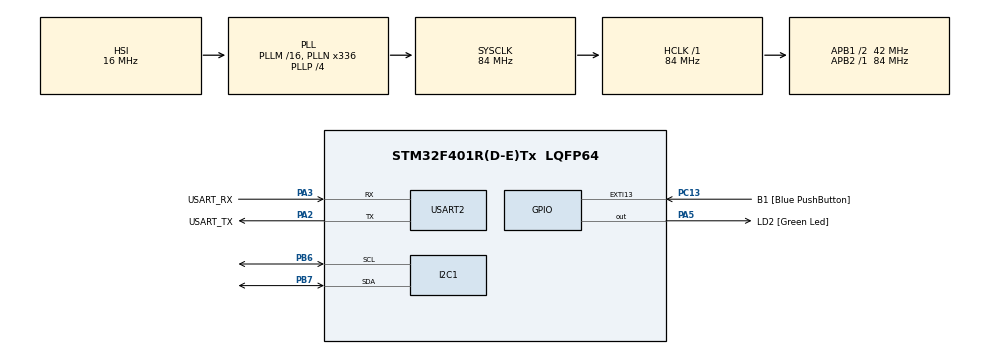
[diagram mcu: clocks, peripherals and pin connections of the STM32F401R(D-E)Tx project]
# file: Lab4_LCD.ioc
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Mcu.Family=STM32F4
Mcu.Name=STM32F401R(D-E)Tx
Mcu.Package=LQFP64
NVIC.PriorityGroup=NVIC_PRIORITYGROUP_0
NVIC.TIM2_IRQn=true\:0\:0\:false\:false\:true\:true\:true\:true
PA13.GPIO_Label=TMS
PA13.Mode=Serial_Wire
PA13.Signal=SYS_JTMS-SWDIO
PA14.GPIO_Label=TCK
PA14.Mode=Serial_Wire
PA14.Signal=SYS_JTCK-SWCLK
PA2.GPIO_Label=USART_TX
PA2.GPIO_Mode=GPIO_MODE_AF_PP
PA2.GPIO_PuPd=GPIO_NOPULL
PA2.GPIO_Speed=GPIO_SPEED_FREQ_LOW
PA2.Mode=Asynchronous
PA2.Signal=USART2_TX
PA3.GPIO_Label=USART_RX
PA3.GPIO_Mode=GPIO_MODE_AF_PP
PA3.GPIO_PuPd=GPIO_NOPULL
PA3.GPIO_Speed=GPIO_SPEED_FREQ_LOW
PA3.Mode=Asynchronous
PA3.Signal=USART2_RX
PA5.GPIO_Label=LD2 [Green Led]
PA5.GPIO_Mode=GPIO_MODE_OUTPUT_PP
PA5.GPIO_PuPd=GPIO_NOPULL
PA5.GPIO_Speed=GPIO_SPEED_FREQ_LOW
PA5.Signal=GPIO_Output
PB3.GPIO_Label=SWO
PB3.Signal=SYS_JTDO-SWO
PB6.Mode=I2C
PB6.Signal=I2C1_SCL
PB7.Mode=I2C
PB7.Signal=I2C1_SDA
PC13-ANTI_TAMP.GPIO_Label=B1 [Blue PushButton]
PC13-ANTI_TAMP.GPIO_ModeDefaultEXTI=GPIO_MODE_IT_FALLING
PC13-ANTI_TAMP.GPIO_PuPd=GPIO_NOPULL
PC13-ANTI_TAMP.Signal=GPXTI13
PC14-OSC32_IN.Mode=LSE-External-Oscillator
PC14-OSC32_IN.Signal=RCC_OSC32_IN
PC15-OSC32_OUT.Mode=LSE-External-Oscillator
PC15-OSC32_OUT.Signal=RCC_OSC32_OUT
PH0\ -\ OSC_IN.Mode=HSE-External-Clock-Source
PH0\ -\ OSC_IN.Signal=RCC_OSC_IN
PH1\ -\ OSC_OUT.Mode=HSE-External-Clock-Source
PH1\ -\ OSC_OUT.Signal=RCC_OSC_OUT
ProjectManager.HeapSize=0x200
ProjectManager.StackSize=0x400
ProjectManager.TargetToolchain=STM32CubeIDE
RCC.48MHZClocksFreq_Value=48000000
RCC.AHBFreq_Value=84000000
RCC.APB1CLKDivider=RCC_HCLK_DIV2
RCC.APB1Freq_Value=42000000
RCC.APB1TimFreq_Value=84000000
RCC.APB2Freq_Value=84000000
RCC.APB2TimFreq_Value=84000000
RCC.CortexFreq_Value=84000000
RCC.HCLKFreq_Value=84000000
RCC.HSE_VALUE=8000000
RCC.HSI_VALUE=16000000
RCC.PLLN=336
RCC.PLLP=RCC_PLLP_DIV4
RCC.PLLQ=7
RCC.SYSCLKFreq_VALUE=84000000
RCC.SYSCLKSource=RCC_SYSCLKSOURCE_PLLCLK
RCC.VCOOutputFreq_Value=336000000
TIM2.Period=7000-1
TIM2.Prescaler=6000-1
USART2.VirtualMode=VM_ASYNC
VP_TIM2_VS_ClockSourceINT.Mode=Internal
board=NUCLEO-F401RE

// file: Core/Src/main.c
/* USER CODE BEGIN Header */
/**
  ******************************************************************************
  * @file           : main.c
  * @brief          : Main program body
  ******************************************************************************
  * @attention
  *
  * Copyright (c) 2024 STMicroelectronics.
  * All rights reserved.
  *
  * This software is licensed under terms that can be found in the LICENSE file
  * in the root directory of this software component.
  * If no LICENSE file comes with this software, it is provided AS-IS.
  *
  ******************************************************************************
  */
/* USER CODE END Header */
#include "main.h"

I2C_HandleTypeDef hi2c1;

TIM_HandleTypeDef htim2;

UART_HandleTypeDef huart2;

void SystemClock_Config(void);
static void MX_GPIO_Init(void);
static void MX_USART2_UART_Init(void);
static void MX_TIM2_Init(void);
static void MX_I2C1_Init(void);

/* USER CODE BEGIN 0 */

uint8_t tick_flag = 0;
uint8_t hsec = 0;
struct clock_data my_clock;

void cd_set(struct clock_data *pcd, uint8_t hrs, uint8_t min, uint8_t sec)
{
	pcd->hrs = hrs;
	pcd->min = min;
	pcd->sec = sec;
}

void cd_tick(struct clock_data *pcd)
{
	pcd->sec++; //ökar sec

	//hanterar sec/min
	if(pcd->sec >= 60)
	{
		pcd->sec = 0;
		pcd->min++;
	}

	//hanterar min/hrs
	if(pcd->min >= 60)
	{
		pcd->min = 0;
		pcd->hrs++;
	}

	//slår om clk
	if(pcd->hrs >= 24)
	{
		pcd->hrs = 0;
	}

}

void HAL_TIM_PeriodElapsedCallback( TIM_HandleTypeDef *htim )
{
	if(htim->Instance==TIM2)
	{
		hsec ^= 1;
		if (!hsec)
		{
			tick_flag = 1;
		}

		HAL_UART_Transmit(&huart2, (uint8_t *)"Tick\n", 5, HAL_MAX_DELAY);
	}
}

void uart_print_cd(UART_HandleTypeDef *huart, struct clock_data * pcd)
{
	char buffer[100];

	sprintf(buffer, "%02d:%02d:%02d\r", pcd->hrs, pcd->min, pcd->sec);

	HAL_UART_Transmit(huart, (uint8_t*) buffer, strlen(buffer), HAL_MAX_DELAY);
}

void wait_for_button_press()
{
	while(!(HAL_GPIO_ReadPin(B1_GPIO_Port, B1_Pin) == 0))
	{

	}

	HAL_Delay(20);
}

/* USER CODE END 0 */

int main(void)
{

  /* USER CODE BEGIN 1 */

	HAL_TIM_Base_Start_IT(&htim2);
	cd_set(&my_clock, 23, 59,45);

  /* USER CODE END 1 */

  /* MCU Configuration--------------------------------------------------------*/

  /* Reset of all peripherals, Initializes the Flash interface and the Systick. */
  HAL_Init();

  /* Configure the system clock */
  SystemClock_Config();

  /* Initialize all configured peripherals */
  MX_GPIO_Init();
  MX_USART2_UART_Init();
  MX_TIM2_Init();
  MX_I2C1_Init();

  /* Infinite loop */
  /* USER CODE BEGIN WHILE */
  while (1)
  {

	  if (tick_flag)
	  {
		  tick_flag = 0;
		  cd_tick(&my_clock);
		  uart_print_cd(&huart2,&my_clock);

	  }

    /* USER CODE END WHILE */

  }
}

void SystemClock_Config(void)
{
  RCC_OscInitTypeDef RCC_OscInitStruct = {0};
  RCC_ClkInitTypeDef RCC_ClkInitStruct = {0};

  /** Configure the main internal regulator output voltage
  */
  __HAL_RCC_PWR_CLK_ENABLE();
  __HAL_PWR_VOLTAGESCALING_CONFIG(PWR_REGULATOR_VOLTAGE_SCALE2);

  /** Initializes the RCC Oscillators according to the specified parameters
  * in the RCC_OscInitTypeDef structure.
  */
  RCC_OscInitStruct.OscillatorType = RCC_OSCILLATORTYPE_HSI;
  RCC_OscInitStruct.HSIState = RCC_HSI_ON;
  RCC_OscInitStruct.HSICalibrationValue = RCC_HSICALIBRATION_DEFAULT;
  RCC_OscInitStruct.PLL.PLLState = RCC_PLL_ON;
  RCC_OscInitStruct.PLL.PLLSource = RCC_PLLSOURCE_HSI;
  RCC_OscInitStruct.PLL.PLLM = 16;
  RCC_OscInitStruct.PLL.PLLN = 336;
  RCC_OscInitStruct.PLL.PLLP = RCC_PLLP_DIV4;
  RCC_OscInitStruct.PLL.PLLQ = 7;
  if (HAL_RCC_OscConfig(&RCC_OscInitStruct) != HAL_OK)
  {
    Error_Handler();
  }

  /** Initializes the CPU, AHB and APB buses clocks
  */
  RCC_ClkInitStruct.ClockType = RCC_CLOCKTYPE_HCLK|RCC_CLOCKTYPE_SYSCLK
                              |RCC_CLOCKTYPE_PCLK1|RCC_CLOCKTYPE_PCLK2;
  RCC_ClkInitStruct.SYSCLKSource = RCC_SYSCLKSOURCE_PLLCLK;
  RCC_ClkInitStruct.AHBCLKDivider = RCC_SYSCLK_DIV1;
  RCC_ClkInitStruct.APB1CLKDivider = RCC_HCLK_DIV2;
  RCC_ClkInitStruct.APB2CLKDivider = RCC_HCLK_DIV1;

  if (HAL_RCC_ClockConfig(&RCC_ClkInitStruct, FLASH_LATENCY_2) != HAL_OK)
  {
    Error_Handler();
  }
}

static void MX_I2C1_Init(void)
{

  hi2c1.Instance = I2C1;
  hi2c1.Init.ClockSpeed = 100000;
  hi2c1.Init.DutyCycle = I2C_DUTYCYCLE_2;
  hi2c1.Init.OwnAddress1 = 0;
  hi2c1.Init.AddressingMode = I2C_ADDRESSINGMODE_7BIT;
  hi2c1.Init.DualAddressMode = I2C_DUALADDRESS_DISABLE;
  hi2c1.Init.OwnAddress2 = 0;
  hi2c1.Init.GeneralCallMode = I2C_GENERALCALL_DISABLE;
  hi2c1.Init.NoStretchMode = I2C_NOSTRETCH_DISABLE;
  if (HAL_I2C_Init(&hi2c1) != HAL_OK)
  {
    Error_Handler();
  }

}

static void MX_TIM2_Init(void)
{

  TIM_ClockConfigTypeDef sClockSourceConfig = {0};
  TIM_MasterConfigTypeDef sMasterConfig = {0};

  htim2.Instance = TIM2;
  htim2.Init.Prescaler = 6000-1;
  htim2.Init.CounterMode = TIM_COUNTERMODE_UP;
  htim2.Init.Period = 7000-1;
  htim2.Init.ClockDivision = TIM_CLOCKDIVISION_DIV1;
  htim2.Init.AutoReloadPreload = TIM_AUTORELOAD_PRELOAD_DISABLE;
  if (HAL_TIM_Base_Init(&htim2) != HAL_OK)
  {
    Error_Handler();
  }
  sClockSourceConfig.ClockSource = TIM_CLOCKSOURCE_INTERNAL;
  if (HAL_TIM_ConfigClockSource(&htim2, &sClockSourceConfig) != HAL_OK)
  {
    Error_Handler();
  }
  sMasterConfig.MasterOutputTrigger = TIM_TRGO_RESET;
  sMasterConfig.MasterSlaveMode = TIM_MASTERSLAVEMODE_DISABLE;
  if (HAL_TIMEx_MasterConfigSynchronization(&htim2, &sMasterConfig) != HAL_OK)
  {
    Error_Handler();
  }

}

static void MX_USART2_UART_Init(void)
{

  huart2.Instance = USART2;
  huart2.Init.BaudRate = 115200;
  huart2.Init.WordLength = UART_WORDLENGTH_8B;
  huart2.Init.StopBits = UART_STOPBITS_1;
  huart2.Init.Parity = UART_PARITY_NONE;
  huart2.Init.Mode = UART_MODE_TX_RX;
  huart2.Init.HwFlowCtl = UART_HWCONTROL_NONE;
  huart2.Init.OverSampling = UART_OVERSAMPLING_16;
  if (HAL_UART_Init(&huart2) != HAL_OK)
  {
    Error_Handler();
  }

}

static void MX_GPIO_Init(void)
{
  GPIO_InitTypeDef GPIO_InitStruct = {0};

  /* GPIO Ports Clock Enable */
  __HAL_RCC_GPIOC_CLK_ENABLE();
  __HAL_RCC_GPIOH_CLK_ENABLE();
  __HAL_RCC_GPIOA_CLK_ENABLE();
  __HAL_RCC_GPIOB_CLK_ENABLE();

  /*Configure GPIO pin Output Level */
  HAL_GPIO_WritePin(LD2_GPIO_Port, LD2_Pin, GPIO_PIN_RESET);

  /*Configure GPIO pin : B1_Pin */
  GPIO_InitStruct.Pin = B1_Pin;
  GPIO_InitStruct.Mode = GPIO_MODE_IT_FALLING;
  GPIO_InitStruct.Pull = GPIO_NOPULL;
  HAL_GPIO_Init(B1_GPIO_Port, &GPIO_InitStruct);

  /*Configure GPIO pin : LD2_Pin */
  GPIO_InitStruct.Pin = LD2_Pin;
  GPIO_InitStruct.Mode = GPIO_MODE_OUTPUT_PP;
  GPIO_InitStruct.Pull = GPIO_NOPULL;
  GPIO_InitStruct.Speed = GPIO_SPEED_FREQ_LOW;
  HAL_GPIO_Init(LD2_GPIO_Port, &GPIO_InitStruct);

}

void Error_Handler(void)
{
  __disable_irq();
  while (1)
  {
  }
}
